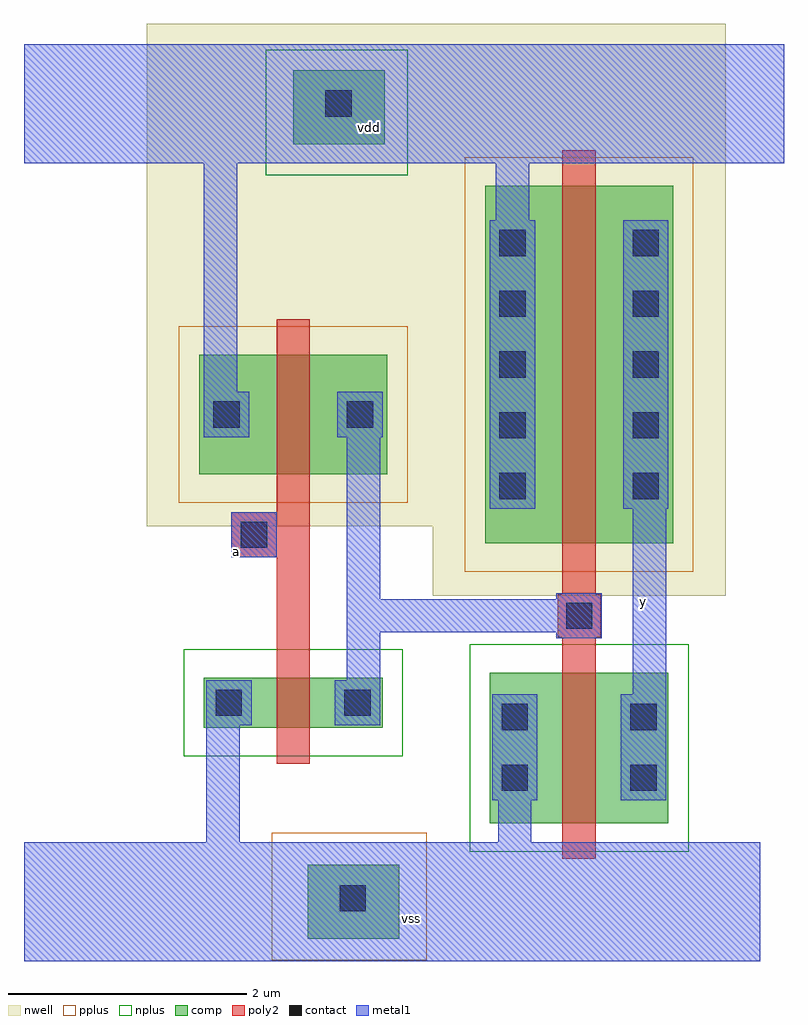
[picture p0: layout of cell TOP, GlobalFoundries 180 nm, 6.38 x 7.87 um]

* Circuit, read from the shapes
.subckt TOP a vdd vss y
XM1 n1 a vss vss nfet_03v3 w=0.42u l=0.28u
XM2 y n1 vss vss nfet_03v3 w=1.26u l=0.28u
XM3 n1 a vdd vdd pfet_03v3 w=1u l=0.28u
XM4 y n1 vdd vdd pfet_03v3 w=3u l=0.28u
.ends

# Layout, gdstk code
import gdstk
lib = gdstk.Library(unit=1e-6, precision=1e-08)
def R(c, l, rs):  # rectangles x0, y0, x1, y1
    for r in rs: c.add(gdstk.rectangle(r[:2], r[2:], *l))
def A(c, l, x, y, w, h, nx, ny, dx, dy):  # array of equal rectangles
    R(c, l, [(x+i*dx, y+j*dy, x+i*dx+w, y+j*dy+h) for i in range(nx) for j in range(ny)])
nwell = (21, 0)
comp = (22, 0)
poly2 = (30, 0)
pplus = (31, 0)
nplus = (32, 0)
contact = (33, 0)
metal1 = (34, 0)

top = lib.new_cell('TOP')
R(top, nwell, [(0.37,-2.35,2.83,1.53), (-2.03,-1.77,0.43,0.11), (-2.03,0.03,2.83,2.45)])
R(top, comp, [(-0.68,-5.23,0.09,-4.61), (-0.68,-5.23,0.09,-4.61), (0.85,-4.26,1.27,-3), (1.27,-4.26,1.93,-3), (1.93,-4.26,2.35,-3), (-1.55,-3.46,-1.13,-3.04), (-1.13,-3.46,-0.47,-3.04), (-0.47,-3.46,-0.05,-3.04), (0.81,-1.91,1.27,1.09), (1.27,-1.91,1.93,1.09), (1.93,-1.91,2.39,1.09), (-1.59,-1.33,-1.13,-0.33), (-1.13,-1.33,-0.47,-0.33), (-0.47,-1.33,-0.01,-0.33), (-0.8,1.44,-0.03,2.06)])
R(top, poly2, [(1.46,-4.56,1.74,-2.7), (-0.94,-3.76,-0.66,-2.74), (1.42,-2.7,1.78,-2.34), (1.46,-2.54,1.74,-1.9), (1.46,-2.21,1.74,1.39), (-1.32,-2.03,-0.94,-1.65), (-0.94,-1.63,-0.66,-0.03)])
R(top, pplus, [(-0.98,-5.41,0.32,-4.34), (-0.98,-5.41,0.32,-4.34), (0.64,-2.15,2.56,1.33), (-1.76,-1.57,0.16,-0.09)])
R(top, nplus, [(0.68,-4.5,2.52,-2.76), (-1.72,-3.7,0.12,-2.8), (-1.03,1.18,0.16,2.23)])
A(top, contact, 0.93, -1.54, 0.22, 0.22, 1, 5, 0, 0.51)
A(top, contact, 2.05, -1.54, 0.22, 0.22, 1, 5, 0, 0.51)
R(top, contact, [(-0.41,-5,-0.19,-4.78), (-0.41,-5,-0.19,-4.78), (0.95,-3.99,1.17,-3.77), (2.03,-3.99,2.25,-3.77), (0.95,-3.48,1.17,-3.26), (2.03,-3.48,2.25,-3.26), (-1.45,-3.36,-1.23,-3.14), (-0.37,-3.36,-0.15,-3.14), (1.49,-2.63,1.71,-2.41), (-1.24,-1.95,-1.02,-1.73), (-1.47,-0.94,-1.25,-0.72), (-0.35,-0.94,-0.13,-0.72), (-0.53,1.67,-0.31,1.89)])
R(top, metal1, [(0.87,-4.07,1.25,-3.18), (1.95,-4.07,2.33,-3.18), (-1.53,-3.44,-1.15,-3.06), (-0.45,-3.44,-0.07,-3.06), (1.41,-2.71,1.79,-2.33), (-1.32,-2.03,-0.94,-1.65), (0.85,-1.62,1.23,0.8), (1.97,-1.62,2.35,0.8), (-1.55,-1.02,-1.17,-0.64), (-0.43,-1.02,-0.05,-0.64)])
top.add(gdstk.FlexPath([(-0.8,-1.35),(-0.8,-2.78),(-0.8,-2.78)], 0.28, ends="flush", simple_path=True, layer=30, datatype=0))  # poly2
top.add(gdstk.FlexPath([(1.06,-3.89),(1.06,-4.58)], 0.28, ends="flush", simple_path=True, layer=34, datatype=0))  # metal1
top.add(gdstk.FlexPath([(2.19,-3.28),(2.19,-1.28)], 0.28, ends="flush", simple_path=True, layer=34, datatype=0))  # metal1
top.add(gdstk.FlexPath([(1.61,-2.52),(-0.25,-2.52)], 0.28, ends="flush", simple_path=True, layer=34, datatype=0))  # metal1
top.add(gdstk.FlexPath([(-3.06,1.78),(1.77,1.78)], 1, ends="flush", simple_path=True, layer=34, datatype=0))  # metal1
top.add(gdstk.FlexPath([(-3.06,-4.92),(1.77,-4.92)], 1, ends="flush", simple_path=True, layer=34, datatype=0))  # metal1
top.add(gdstk.FlexPath([(-1.41,-0.76),(-1.41,1.62)], 0.28, ends="flush", simple_path=True, layer=34, datatype=0))  # metal1
top.add(gdstk.FlexPath([(-1.39,-3.28),(-1.39,-4.47)], 0.28, ends="flush", simple_path=True, layer=34, datatype=0))  # metal1
top.add(gdstk.FlexPath([(-0.21,-0.96),(-0.21,-3.23)], 0.28, ends="flush", simple_path=True, layer=34, datatype=0))  # metal1
top.add(gdstk.FlexPath([(-0.97,1.78),(3.32,1.78)], 1, ends="flush", simple_path=True, layer=34, datatype=0))  # metal1
top.add(gdstk.FlexPath([(-1.45,-4.92),(3.12,-4.92)], 1, ends="flush", simple_path=True, layer=34, datatype=0))  # metal1
top.add(gdstk.FlexPath([(1.04,-0.84),(1.04,1.49)], 0.28, ends="flush", simple_path=True, layer=34, datatype=0))  # metal1
top.add(gdstk.Label('vss', (0.19,-5.06), layer=34, texttype=10))
top.add(gdstk.Label('a', (-1.28,-1.98), layer=34, texttype=10))
top.add(gdstk.Label('vdd', (-0.16,1.58), layer=34, texttype=10))
top.add(gdstk.Label('y', (2.14,-2.4), layer=34, texttype=10))

lib.write_gds('TOP.gds')
